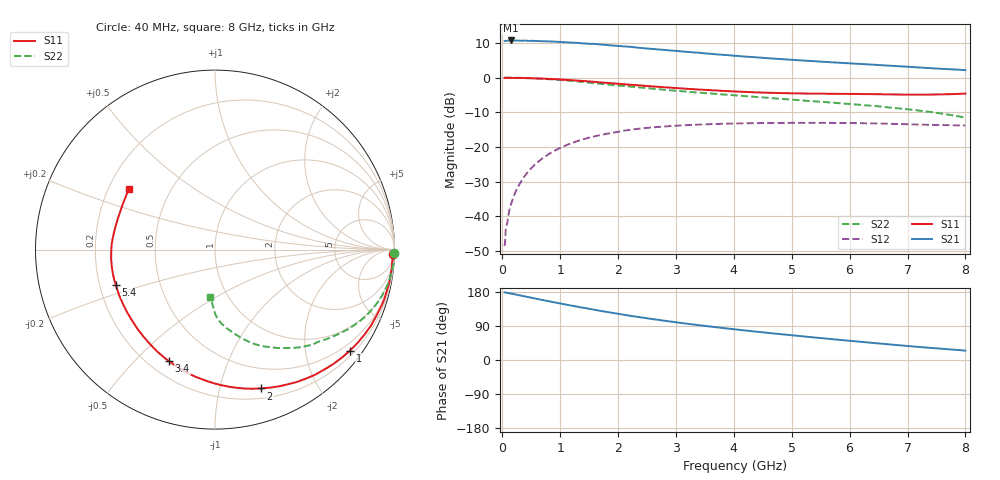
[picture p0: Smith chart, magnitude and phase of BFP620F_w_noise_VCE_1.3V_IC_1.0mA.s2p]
! Infineon Technologies  Discrete & RF Semiconductors
! BFP620F
! VCE =  1.3 V,  IC =  1.0 mA
! Common Emitter S-Parameters:  Dec 2014
# GHz  S  MA  R  50
!  f  S11  S21  S12  S22
! GHz  MAG  ANG  MAG  ANG  MAG  ANG  MAG  ANG
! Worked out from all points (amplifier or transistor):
!   94 points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, 40 MHz to 8 GHz, reference 50 ohm
!   highest |S21| = 10.7 dB at 150 MHz (marker M1)
!   |S21| within 3 dB of that: start of sweep to 2.997 GHz
!   unconditionally stable (mu >= 1): 7.052 GHz to end of sweep
!   at 350 MHz: K = 0.01, MSG = 19.9 dB, |S12| = -29.2 dB
!   at 3.4 GHz: K = 0.46, MSG = 10.4 dB, |S12| = -13.6 dB
!   at 8 GHz: K = 1.16, MAG = 5.5 dB, |S12| = -13.8 dB
!   lowest NFmin = 0.63 dB at 450 MHz
!   S11 on the Smith chart (normalised r, x): 40 MHz: 25, -73; 1 GHz: 0.31, -2.98; 2 GHz: 0.29, -1.35; 3.4 GHz: 0.28, -0.63; 5.4 GHz: 0.27, -0.16; 8 GHz: 0.28, +0.29
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0.04  0.9917 -1.4  3.364 178.4  0.0037 87.0  0.9997 -1.1
0.05  0.9929 -1.9  3.378 178.3  0.0045 86.4  1 -1.3
0.06  0.991 -2.2  3.392 178.2  0.0066 83.2  0.9996 -1.3
0.09  0.9901 -3.2  3.407 177.2  0.0083 84.0  0.999 -2.2
0.1  0.9904 -3.6  3.411 176.9  0.0102 87.7  0.9989 -2.3
0.15  0.9901 -5.6  3.435 175.4  0.0148 87.3  0.998 -3.6
0.25  0.9881 -9.2  3.427 172.2  0.0247 85.0  0.9945 -5.9
0.45  0.9821 -16.6  3.381 165.9  0.0446 80.6  0.9836 -10.6
0.8  0.9583 -29.6  3.333 155.2  0.0785 71.8  0.9492 -18.6
1  0.9394 -36.8  3.264 149.2  0.0968 66.9  0.9235 -22.9
1.3  0.9043 -47.6  3.167 140.5  0.1217 59.6  0.8785 -29.0
1.4  0.8936 -51.1  3.114 137.8  0.1291 57.3  0.8625 -31.0
1.6  0.8669 -58.3  3.062 132.3  0.1426 52.9  0.8297 -34.8
2  0.815 -71.6  2.868 121.9  0.1653 44.8  0.7681 -42.2
2.2  0.7907 -78.2  2.785 116.9  0.1762 40.9  0.7447 -46.0
2.7  0.7359 -93.0  2.545 105.8  0.1945 32.4  0.6803 -53.7
3.4  0.6722 -112.3  2.283 91.8  0.21 22.7  0.6068 -62.9
4.1  0.6269 -129.8  2.042 79.5  0.2185 14.8  0.5491 -69.6
4.7  0.6016 -144.3  1.876 69.8  0.2216 9.1  0.502 -74.6
5.4  0.5865 -160.3  1.725 59.3  0.2228 3.3  0.4545 -80.1
6.7  0.5721 172.4  1.484 41.0  0.2155 -5.4  0.3696 -89.0
8  0.5881 145.0  1.281 24.8  0.2042 -9.8  0.2644 -95.9
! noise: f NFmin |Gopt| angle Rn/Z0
0.45  0.63  0.7  11  0.33
0.9  0.82  0.71  21  0.28
1.5  0.98  0.64  33  0.28
1.8  1.05  0.63  37  0.28
1.9  1.07  0.6  46  0.29
2.4  1.19  0.58  59  0.27
3.5  1.44  0.56  83  0.2
5.5  1.85  0.41  143  0.17
6  1.94  0.29  161  0.33
